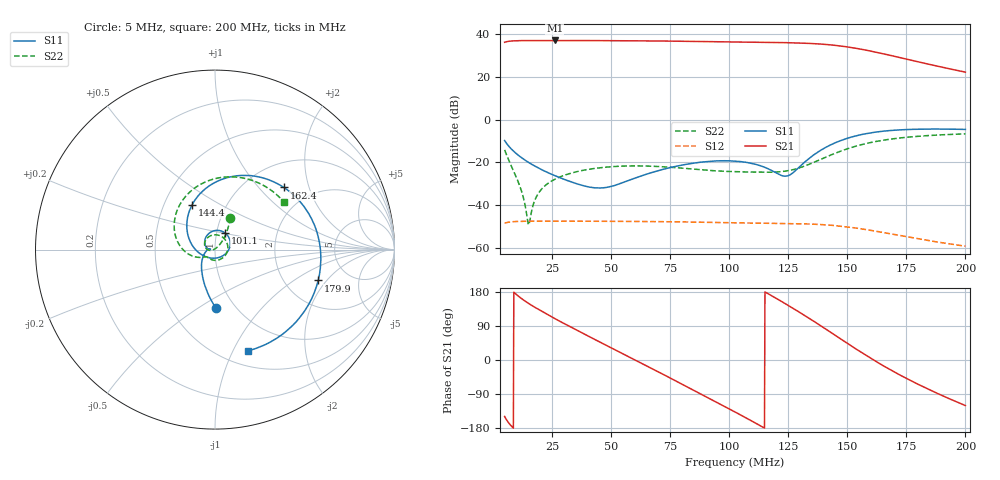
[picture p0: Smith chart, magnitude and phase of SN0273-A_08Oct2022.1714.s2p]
# Hz S DB R 50
! CMT, M5045, 22160017, 22.3.3/2
! Date: 10/8/2022 17:14:24
! Data: Format (Calibration Info)
! Freq	S11:dB/Ang(F2)	S21:dB/Ang(F2)	S12:dB/Ang(F2)	S22:dB/Ang(F2)
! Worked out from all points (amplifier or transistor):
!   1001 points, 5 MHz to 200 MHz, reference 50 ohm
!   highest |S21| = 37.2 dB at 26.25 MHz (marker M1)
!   |S21| within 3 dB of that: start of sweep to 149.8 MHz
!   unconditionally stable (mu >= 1): start of sweep to end of sweep
!   at 37.37 MHz: K = 1.81, MAG = 37.2 dB, |S12| = -47.6 dB
!   at 102.5 MHz: K = 2.06, MAG = 36.5 dB, |S12| = -48.3 dB
!   at 200 MHz: K = 18.12, MAG = 25.2 dB, |S12| = -59.3 dB
!   S11 on the Smith chart (normalised r, x): 5 MHz: 0.82, -0.59; 101.1 MHz: 1.10, +0.21; 144.4 MHz: 0.69, +0.38; 162.4 MHz: 1.47, +1.39; 179.9 MHz: 3.04, -1.64; 200 MHz: 0.66, -1.15
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5000000  -9.75 -89.1  36.34 -148.9  -48.54 -146.0  -14.13 64.9
8120000  -14.02 -107.4  36.96 -176.1  -47.85 -173.3  -22.35 51.3
1.2215e7  -17.84 -125.8  37.12 161.7  -47.63 164.7  -33.68 46.9
1.904e7  -22.50 -150.6  37.18 134.5  -47.57 137.5  -34.95 -168.3
2.6255e7  -26.18 -170.8  37.20 109.3  -47.56 113.1  -27.93 -177.9
3.7565e7  -30.68 171.7  37.16 72.1  -47.59 77.5  -23.85 154.8
5.453e7  -29.64 178.7  37.06 18.1  -47.67 25.7  -21.76 104.3
6.233e7  -26.55 168.7  37.01 -6.7  -47.72 2.0  -21.65 78.4
7.013e7  -23.84 151.7  36.94 -31.6  -47.79 -21.9  -21.92 50.9
8.573e7  -20.24 108.8  36.74 -82.0  -48.02 -70.4  -23.22 -9.2
1.01135e8  -19.32 59.1  36.49 -132.6  -48.30 -119.1  -24.28 -73.0
1.025e8  -19.41 54.3  36.47 -137.1  -48.33 -123.5  -24.32 -78.8
1.10885e8  -20.81 21.2  36.36 -165.4  -48.47 -150.9  -24.59 -110.7
1.18685e8  -24.21 -25.0  36.26 167.2  -48.57 -177.4  -24.58 -132.0
1.2629e8  -25.49 -118.8  36.11 139.3  -48.68 155.4  -23.59 -143.0
1.35065e8  -17.09 164.4  35.76 105.3  -48.95 122.1  -20.35 -153.1
1.44425e8  -11.04 117.0  34.95 67.2  -49.60 84.6  -15.92 -173.7
1.53005e8  -7.74 79.2  33.65 31.9  -50.69 49.6  -12.60 160.4
1.62365e8  -5.73 42.0  31.65 -4.6  -52.33 13.5  -10.14 130.9
1.6763e8  -5.10 23.0  30.36 -23.7  -53.37 -5.4  -9.19 115.1
1.79915e8  -4.43 -16.7  27.21 -63.9  -55.82 -45.4  -7.76 81.3
2e8  -4.53 -71.7  22.34 -120.3  -59.29 -100.7  -6.62 34.4
